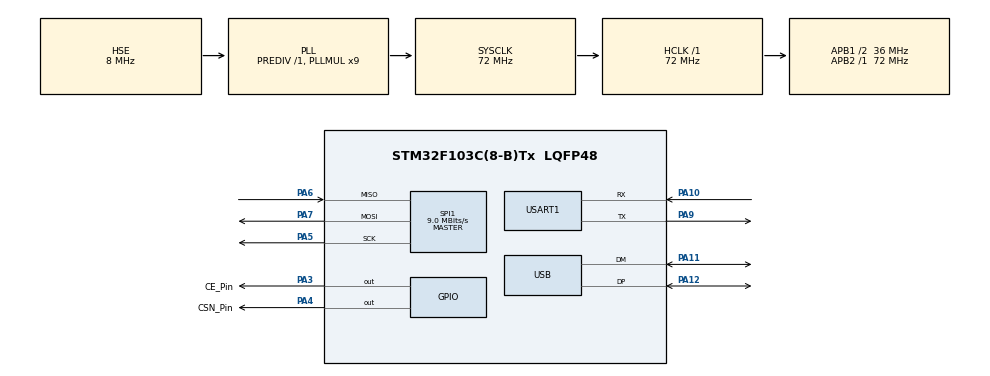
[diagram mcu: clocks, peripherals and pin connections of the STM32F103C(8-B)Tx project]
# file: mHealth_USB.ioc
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Mcu.Family=STM32F1
Mcu.Name=STM32F103C(8-B)Tx
Mcu.Package=LQFP48
NVIC.PriorityGroup=NVIC_PRIORITYGROUP_4
NVIC.USB_LP_CAN1_RX0_IRQn=true\:0\:0\:false\:false\:true\:false\:true
PA10.Mode=Asynchronous
PA10.Signal=USART1_RX
PA11.Mode=Device
PA11.Signal=USB_DM
PA12.Mode=Device
PA12.Signal=USB_DP
PA13.Mode=Serial_Wire
PA13.Signal=SYS_JTMS-SWDIO
PA14.Mode=Serial_Wire
PA14.Signal=SYS_JTCK-SWCLK
PA3.GPIO_Label=CE_Pin
PA3.Signal=GPIO_Output
PA4.GPIO_Label=CSN_Pin
PA4.Signal=GPIO_Output
PA5.Mode=Full_Duplex_Master
PA5.Signal=SPI1_SCK
PA6.Mode=Full_Duplex_Master
PA6.Signal=SPI1_MISO
PA7.Mode=Full_Duplex_Master
PA7.Signal=SPI1_MOSI
PA9.Mode=Asynchronous
PA9.Signal=USART1_TX
PD0-OSC_IN.Mode=HSE-External-Oscillator
PD0-OSC_IN.Signal=RCC_OSC_IN
PD1-OSC_OUT.Mode=HSE-External-Oscillator
PD1-OSC_OUT.Signal=RCC_OSC_OUT
ProjectManager.HeapSize=0x200
ProjectManager.StackSize=0x400
ProjectManager.TargetToolchain=STM32CubeIDE
RCC.AHBFreq_Value=72000000
RCC.APB1CLKDivider=RCC_HCLK_DIV2
RCC.APB1Freq_Value=36000000
RCC.APB1TimFreq_Value=72000000
RCC.APB2Freq_Value=72000000
RCC.APB2TimFreq_Value=72000000
RCC.HCLKFreq_Value=72000000
RCC.PLLMUL=RCC_PLL_MUL9
RCC.PLLSourceVirtual=RCC_PLLSOURCE_HSE
RCC.SYSCLKFreq_VALUE=72000000
RCC.SYSCLKSource=RCC_SYSCLKSOURCE_PLLCLK
RCC.USBFreq_Value=48000000
RCC.USBPrescaler=RCC_USBCLKSOURCE_PLL_DIV1_5
SPI1.BaudRatePrescaler=SPI_BAUDRATEPRESCALER_8
SPI1.CalculateBaudRate=9.0 MBits/s
SPI1.Direction=SPI_DIRECTION_2LINES
SPI1.Mode=SPI_MODE_MASTER
SPI1.VirtualType=VM_MASTER
USART1.VirtualMode=VM_ASYNC
USB_DEVICE.CLASS_NAME_FS=CUSTOM_HID
USB_DEVICE.VirtualMode=CustomHid
USB_DEVICE.VirtualModeFS=Custom_Hid_FS
VP_USB_DEVICE_VS_USB_DEVICE_CUSTOM_HID_FS.Mode=CUSTOM_HID_FS
board=custom

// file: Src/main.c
/* USER CODE BEGIN Header */
/**
  ******************************************************************************
  * @file           : main.c
  * @brief          : Main program body
  ******************************************************************************
  * @attention
  *
  * <h2><center>&copy; Copyright (c) 2019 STMicroelectronics.
  * All rights reserved.</center></h2>
  *
  * This software component is licensed by ST under BSD 3-Clause license,
  * the "License"; You may not use this file except in compliance with the
  * License. You may obtain a copy of the License at:
  *                        opensource.org/licenses/BSD-3-Clause
  *
  ******************************************************************************
  */
/* USER CODE END Header */

#include "main.h"
#include "usb_device.h"

/* USER CODE BEGIN Includes */
#include "MY_NRF24.h"
/* USER CODE END Includes */

/* USER CODE BEGIN PTD */
void moveArm(int16_t accel[3], int16_t gyro[3], int16_t mag[3]);
/* USER CODE END PTD */

/* USER CODE BEGIN PD */
uint64_t RxpipeAddrs = 0x11223344AA;
int16_t rx_buffer[10];
int16_t accel[3];
int16_t gyro[3];
int16_t mag[3];
int16_t ppg;
char myAckPayload[32] = "Ack by ST32F103";
char uart_buffer[100];
char usbBuffer[100];

float posS = 100;
float posR = 90;
float posH = 50;
uint8_t rate = 25;
int16_t posR1 = 0;
int16_t posS1 = 0;
int16_t posH1 = 0;
int8_t n = 0;
uint8_t x = 0;

/* USER CODE END PD */

SPI_HandleTypeDef hspi1;

UART_HandleTypeDef huart1;

/* USER CODE BEGIN PV */
extern USBD_HandleTypeDef hUsbDeviceFS;
/* USER CODE END PV */

void SystemClock_Config(void);
static void MX_GPIO_Init(void);
static void MX_SPI1_Init(void);
static void MX_USART1_UART_Init(void);

int main(void)
{

  /* MCU Configuration--------------------------------------------------------*/

  /* Reset of all peripherals, Initializes the Flash interface and the Systick. */
  HAL_Init();

  /* Configure the system clock */
  SystemClock_Config();

  /* USER CODE
   *  BEGIN SysInit */

  /* USER CODE END SysInit */

  /* Initialize all configured peripherals */
  MX_GPIO_Init();
  MX_SPI1_Init();
  MX_USART1_UART_Init();
  MX_USB_DEVICE_Init();
  /* USER CODE BEGIN 2 */
  NRF24_begin(CSN_Pin_GPIO_Port, CSN_Pin_Pin, CE_Pin_Pin, hspi1);
  nrf24_DebugUART_Init(huart1);

  //**** TRANSMIT - ACK ****//
  NRF24_setAutoAck(true);
	NRF24_setChannel(52);
	NRF24_setPayloadSize(32);
	NRF24_openReadingPipe(1, RxpipeAddrs);
	NRF24_enableDynamicPayloads();
	NRF24_enableAckPayload();

	NRF24_startListening();
  printRadioSettings();

  sprintf(uart_buffer, "G2201 S%i R%i H%i F1000000\r\n", 300, 90, 100);
 HAL_UART_Transmit(&huart1, (uint8_t*) uart_buffer, strlen(uart_buffer), 1000);

  /* USER CODE END 2 */

  /* Infinite loop */
  /* USER CODE BEGIN WHILE */
  while (1)
  {

	if(NRF24_available())
	{
		NRF24_read(rx_buffer, sizeof(rx_buffer));
//		HAL_UART_Transmit(&huart1, rx_buffer, sizeof(rx_buffer), 10);

		memcpy(accel, rx_buffer, sizeof(accel));
		memcpy(gyro, &rx_buffer[3], sizeof(gyro));
		memcpy(mag, &rx_buffer[6], sizeof(mag));
//		ppg = rx_buffer[9];

//		sprintf(uart_buffer, "\1(Ax: %i, Ay: %i, Az: %i)\t(Gx: %i, Gy: %i, Gz: %i)\t(Mx: %i, My: %i, Mz: %i)\n\r",
//			accel[0], accel[1], accel[2],
//			gyro[0], gyro[1], gyro[2],
//			mag[0], mag[1], mag[2]);
//		HAL_UART_Transmit(&huart1, uart_buffer, sizeof(uart_buffer), 10);
		moveArm(accel, gyro, mag);
//		sprintf(usbBuffer, "\1%i,%i,%i|%i,%i,%i|%i,%i,%i|%i",
//					accel_x, accel_y, accel_z,
//					gyro_x, gyro_y, gyro_z,
//					mag_x, mag_y, mag_z, ppg);
//		USBD_CUSTOM_HID_SendReport(&hUsbDeviceFS, rx_buffer, 64);
    /* USER CODE END WHILE */

  }
  }
}

void moveArm(int16_t accel[3], int16_t gyro[3], int16_t mag[3]){

	//ICM_20948_AGMT_t agmt;
	float accx = accel[0];
	float accy = accel[1];
	float accz = accel[2];

	float gyrx = gyro[0];
	float gyry = gyro[1];
	float gyrz = gyro[2];

	float magx = mag[0];
	float magy = mag[1];
	float magz = mag[2];

	posR=posR+gyrz*rate/250;

	//int iposR = round(posR);
	if (posR>180){
		posR = 180;
	}else if (posR<0){
		posR = 0;
	}

	posS= 300 - accx * 0.8;
	//int iposS = round(posS);

	if (posS>300){
		posS = 300;
	}else if (posS<10){
		posS = 10;
	}

	posR1=posR;
	posS1=posS1+posS;

	n=n+1;

	if (n==5){

		posS1=posS1/6;
		posH1=posH1/6;

		int16_t iposR = round(posR1);
		int16_t iposS = round(posS1);
		int16_t iposH = 100;

		sprintf(uart_buffer, "G2201 S%i R%i H%i F1000000\r\n", iposS, iposR, iposH);
		HAL_UART_Transmit(&huart1, (uint8_t*) uart_buffer, strlen(uart_buffer), 1000);
		HAL_Delay(50);

		n=0;

		if (iposR < 52 && iposR > 38 && iposS < 250 && iposS > 200  && x == 0){
				sprintf(uart_buffer, "G2201 S225 R45 H45 F10000\r\n");
				HAL_UART_Transmit(&huart1, (uint8_t*) uart_buffer, strlen(uart_buffer), 1000);
				HAL_Delay(2000);

				sprintf(uart_buffer, "G2201 S225 R45 H30 F10000\r\n");
				HAL_UART_Transmit(&huart1, (uint8_t*) uart_buffer, strlen(uart_buffer), 1000);
				HAL_Delay(2000);

				sprintf(uart_buffer, "M2231 V1\r\n");
				HAL_UART_Transmit(&huart1, (uint8_t*) uart_buffer, strlen(uart_buffer), 1000);
				HAL_Delay(500);

				sprintf(uart_buffer, "G2201 S%i R%i H%i F1000000\r\n", iposS, iposR, iposH);
				HAL_UART_Transmit(&huart1, (uint8_t*) uart_buffer, strlen(uart_buffer), 1000);
				HAL_Delay(500);

			    x = 1;
			 }

			if (iposR < 142 && iposR > 128 && iposS < 200 && iposS > 150 && x== 1){

				sprintf(uart_buffer, "G2201 S175 R135 H45 F10000\r\n");
				HAL_UART_Transmit(&huart1, (uint8_t*) uart_buffer, strlen(uart_buffer), 1000);
				HAL_Delay(2000);

				sprintf(uart_buffer, "G2201 S175 R135 H30 F10000\r\n");
				HAL_UART_Transmit(&huart1, (uint8_t*) uart_buffer, strlen(uart_buffer), 1000);
				HAL_Delay(2000);

				sprintf(uart_buffer, "M2231 V0\r\n");
				HAL_UART_Transmit(&huart1, (uint8_t*) uart_buffer, strlen(uart_buffer), 1000);
				HAL_Delay(500);

				sprintf(uart_buffer, "G2201 S%i R%i H%i F1000000\r\n", iposS, iposR, iposH);
				HAL_UART_Transmit(&huart1, (uint8_t*) uart_buffer, strlen(uart_buffer), 1000);
				HAL_Delay(500);

				x = 2;

				posS = 100;
				posR = 90;
				posH = 50;
				posR1 = 0;
				posS1 = 0;
				posH1 = 0;

				sprintf(uart_buffer, "G2201 S%i R%i H%i F1000000\r\n", 300, 90, 100);
				HAL_UART_Transmit(&huart1, (uint8_t*) uart_buffer, strlen(uart_buffer), 1000);

			}

			if (iposR < 142 && iposR > 128 && iposS < 200 && iposS > 150 && x== 2){

				sprintf(uart_buffer, "G2201 S175 R135 H45 F10000\r\n");
				HAL_UART_Transmit(&huart1, (uint8_t*) uart_buffer, strlen(uart_buffer), 1000);
				HAL_Delay(2000);

				sprintf(uart_buffer, "G2201 S175 R135 H30 F10000\r\n");
				HAL_UART_Transmit(&huart1, (uint8_t*) uart_buffer, strlen(uart_buffer), 1000);
				HAL_Delay(2000);

				sprintf(uart_buffer, "M2231 V1\r\n");
				HAL_UART_Transmit(&huart1, (uint8_t*) uart_buffer, strlen(uart_buffer), 1000);
				HAL_Delay(500);

				sprintf(uart_buffer, "G2201 S%i R%i H%i F1000000\r\n", iposS, iposR, iposH);
				HAL_UART_Transmit(&huart1, (uint8_t*) uart_buffer, strlen(uart_buffer), 1000);
				HAL_Delay(500);

				x = 3;

			}

			if (iposR < 52 && iposR > 38 && iposS < 250 && iposS > 200  && x == 3){
				sprintf(uart_buffer, "G2201 S225 R45 H45 F10000\r\n");
				HAL_UART_Transmit(&huart1, (uint8_t*) uart_buffer, strlen(uart_buffer), 1000);
				HAL_Delay(2000);

				sprintf(uart_buffer, "G2201 S225 R45 H30 F10000\r\n");
				HAL_UART_Transmit(&huart1, (uint8_t*) uart_buffer, strlen(uart_buffer), 1000);
				HAL_Delay(2000);

				sprintf(uart_buffer, "M2231 V0\r\n");
				HAL_UART_Transmit(&huart1, (uint8_t*) uart_buffer, strlen(uart_buffer), 1000);
				HAL_Delay(500);

				sprintf(uart_buffer, "G2201 S%i R%i H%i F1000000\r\n", iposS, iposR, iposH);
				HAL_UART_Transmit(&huart1, (uint8_t*) uart_buffer, strlen(uart_buffer), 1000);
				HAL_Delay(500);

				x = 4;
			 }

  }

}

void SystemClock_Config(void)
{
  RCC_OscInitTypeDef RCC_OscInitStruct = {0};
  RCC_ClkInitTypeDef RCC_ClkInitStruct = {0};
  RCC_PeriphCLKInitTypeDef PeriphClkInit = {0};

  /** Initializes the CPU, AHB and APB busses clocks
  */
  RCC_OscInitStruct.OscillatorType = RCC_OSCILLATORTYPE_HSE;
  RCC_OscInitStruct.HSEState = RCC_HSE_ON;
  RCC_OscInitStruct.HSEPredivValue = RCC_HSE_PREDIV_DIV1;
  RCC_OscInitStruct.HSIState = RCC_HSI_ON;
  RCC_OscInitStruct.PLL.PLLState = RCC_PLL_ON;
  RCC_OscInitStruct.PLL.PLLSource = RCC_PLLSOURCE_HSE;
  RCC_OscInitStruct.PLL.PLLMUL = RCC_PLL_MUL9;
  if (HAL_RCC_OscConfig(&RCC_OscInitStruct) != HAL_OK)
  {
    Error_Handler();
  }
  /** Initializes the CPU, AHB and APB busses clocks
  */
  RCC_ClkInitStruct.ClockType = RCC_CLOCKTYPE_HCLK|RCC_CLOCKTYPE_SYSCLK
                              |RCC_CLOCKTYPE_PCLK1|RCC_CLOCKTYPE_PCLK2;
  RCC_ClkInitStruct.SYSCLKSource = RCC_SYSCLKSOURCE_PLLCLK;
  RCC_ClkInitStruct.AHBCLKDivider = RCC_SYSCLK_DIV1;
  RCC_ClkInitStruct.APB1CLKDivider = RCC_HCLK_DIV2;
  RCC_ClkInitStruct.APB2CLKDivider = RCC_HCLK_DIV1;

  if (HAL_RCC_ClockConfig(&RCC_ClkInitStruct, FLASH_LATENCY_2) != HAL_OK)
  {
    Error_Handler();
  }
  PeriphClkInit.PeriphClockSelection = RCC_PERIPHCLK_USB;
  PeriphClkInit.UsbClockSelection = RCC_USBCLKSOURCE_PLL_DIV1_5;
  if (HAL_RCCEx_PeriphCLKConfig(&PeriphClkInit) != HAL_OK)
  {
    Error_Handler();
  }
}

static void MX_SPI1_Init(void)
{

  /* SPI1 parameter configuration*/
  hspi1.Instance = SPI1;
  hspi1.Init.Mode = SPI_MODE_MASTER;
  hspi1.Init.Direction = SPI_DIRECTION_2LINES;
  hspi1.Init.DataSize = SPI_DATASIZE_8BIT;
  hspi1.Init.CLKPolarity = SPI_POLARITY_LOW;
  hspi1.Init.CLKPhase = SPI_PHASE_1EDGE;
  hspi1.Init.NSS = SPI_NSS_SOFT;
  hspi1.Init.BaudRatePrescaler = SPI_BAUDRATEPRESCALER_8;
  hspi1.Init.FirstBit = SPI_FIRSTBIT_MSB;
  hspi1.Init.TIMode = SPI_TIMODE_DISABLE;
  hspi1.Init.CRCCalculation = SPI_CRCCALCULATION_DISABLE;
  hspi1.Init.CRCPolynomial = 10;
  if (HAL_SPI_Init(&hspi1) != HAL_OK)
  {
    Error_Handler();
  }

}

static void MX_USART1_UART_Init(void)
{

  huart1.Instance = USART1;
  huart1.Init.BaudRate = 115200;
  huart1.Init.WordLength = UART_WORDLENGTH_8B;
  huart1.Init.StopBits = UART_STOPBITS_1;
  huart1.Init.Parity = UART_PARITY_NONE;
  huart1.Init.Mode = UART_MODE_TX_RX;
  huart1.Init.HwFlowCtl = UART_HWCONTROL_NONE;
  huart1.Init.OverSampling = UART_OVERSAMPLING_16;
  if (HAL_UART_Init(&huart1) != HAL_OK)
  {
    Error_Handler();
  }

}

static void MX_GPIO_Init(void)
{
  GPIO_InitTypeDef GPIO_InitStruct = {0};

  /* GPIO Ports Clock Enable */
  __HAL_RCC_GPIOD_CLK_ENABLE();
  __HAL_RCC_GPIOA_CLK_ENABLE();

  /*Configure GPIO pin Output Level */
  HAL_GPIO_WritePin(GPIOA, CE_Pin_Pin|CSN_Pin_Pin, GPIO_PIN_RESET);

  /*Configure GPIO pins : CE_Pin_Pin CSN_Pin_Pin */
  GPIO_InitStruct.Pin = CE_Pin_Pin|CSN_Pin_Pin;
  GPIO_InitStruct.Mode = GPIO_MODE_OUTPUT_PP;
  GPIO_InitStruct.Pull = GPIO_NOPULL;
  GPIO_InitStruct.Speed = GPIO_SPEED_FREQ_LOW;
  HAL_GPIO_Init(GPIOA, &GPIO_InitStruct);

}

void Error_Handler(void)
{
}

/************************ (C) COPYRIGHT STMicroelectronics *****END OF FILE****/
